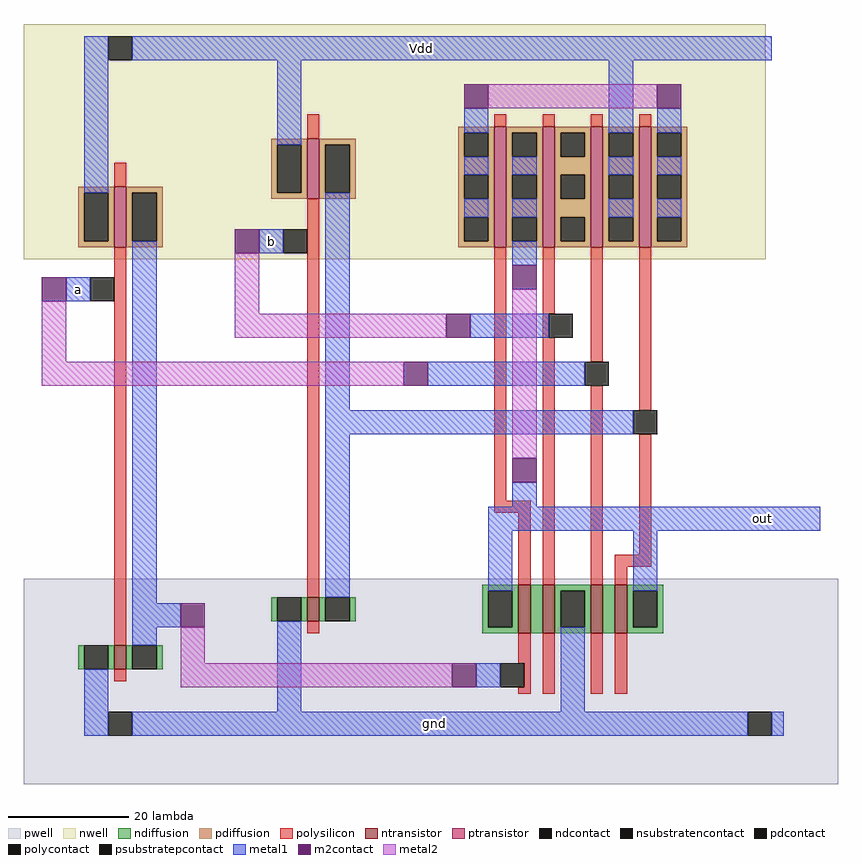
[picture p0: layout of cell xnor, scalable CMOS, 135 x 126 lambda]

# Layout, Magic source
magic
tech scmos
<< pwell >>
rect -79 -34 56 0
<< nwell >>
rect -79 53 44 92
<< polysilicon >>
rect -32 73 -30 77
rect -1 75 1 77
rect 7 75 9 77
rect 15 75 17 77
rect 23 75 25 77
rect -64 65 -62 69
rect -64 -11 -62 55
rect -32 -3 -30 63
rect -1 13 1 55
rect 7 44 9 55
rect 7 40 8 44
rect -1 11 5 13
rect 3 -1 5 11
rect 7 -1 9 40
rect 15 36 17 55
rect 15 -1 17 32
rect 23 28 25 55
rect 23 4 25 24
rect 19 2 25 4
rect 19 -1 21 2
rect -32 -9 -30 -7
rect 3 -14 5 -9
rect -64 -17 -62 -15
rect 4 -18 5 -14
rect 3 -19 5 -18
rect 7 -19 9 -9
rect 15 -19 17 -9
rect 19 -19 21 -9
<< ndiffusion >>
rect -3 -2 3 -1
rect -38 -7 -37 -3
rect -33 -7 -32 -3
rect -30 -7 -29 -3
rect -25 -7 -24 -3
rect -3 -8 -2 -2
rect 2 -8 3 -2
rect -3 -9 3 -8
rect 5 -9 7 -1
rect 9 -2 15 -1
rect 9 -8 10 -2
rect 14 -8 15 -2
rect 9 -9 15 -8
rect 17 -9 19 -1
rect 21 -2 27 -1
rect 21 -8 22 -2
rect 26 -8 27 -2
rect 21 -9 27 -8
rect -70 -15 -69 -11
rect -65 -15 -64 -11
rect -62 -15 -61 -11
rect -57 -15 -56 -11
<< pdiffusion >>
rect -7 74 -1 75
rect -38 72 -32 73
rect -70 64 -64 65
rect -70 56 -69 64
rect -65 56 -64 64
rect -70 55 -64 56
rect -62 64 -56 65
rect -62 56 -61 64
rect -57 56 -56 64
rect -38 64 -37 72
rect -33 64 -32 72
rect -38 63 -32 64
rect -30 72 -24 73
rect -30 64 -29 72
rect -25 64 -24 72
rect -30 63 -24 64
rect -7 70 -6 74
rect -2 70 -1 74
rect -7 67 -1 70
rect -7 63 -6 67
rect -2 63 -1 67
rect -62 55 -56 56
rect -7 60 -1 63
rect -7 56 -6 60
rect -2 56 -1 60
rect -7 55 -1 56
rect 1 74 7 75
rect 1 70 2 74
rect 6 70 7 74
rect 1 67 7 70
rect 1 63 2 67
rect 6 63 7 67
rect 1 60 7 63
rect 1 56 2 60
rect 6 56 7 60
rect 1 55 7 56
rect 9 74 15 75
rect 9 70 10 74
rect 14 70 15 74
rect 9 67 15 70
rect 9 63 10 67
rect 14 63 15 67
rect 9 60 15 63
rect 9 56 10 60
rect 14 56 15 60
rect 9 55 15 56
rect 17 74 23 75
rect 17 70 18 74
rect 22 70 23 74
rect 17 67 23 70
rect 17 63 18 67
rect 22 63 23 67
rect 17 60 23 63
rect 17 56 18 60
rect 22 56 23 60
rect 17 55 23 56
rect 25 74 31 75
rect 25 70 26 74
rect 30 70 31 74
rect 25 67 31 70
rect 25 63 26 67
rect 30 63 31 67
rect 25 60 31 63
rect 25 56 26 60
rect 30 56 31 60
rect 25 55 31 56
<< metal1 >>
rect -69 64 -65 90
rect -61 86 45 90
rect -37 72 -33 86
rect -6 74 -2 78
rect 18 74 22 86
rect -72 46 -68 50
rect -61 -4 -57 56
rect -40 54 -36 58
rect -29 28 -25 64
rect -6 67 -2 70
rect -6 60 -2 63
rect 2 67 6 70
rect 18 67 22 70
rect 2 60 6 63
rect 18 60 22 63
rect 26 74 30 78
rect 26 67 30 70
rect 26 60 30 63
rect 2 52 6 56
rect -5 40 8 44
rect -12 32 14 36
rect -29 24 22 28
rect -29 -3 -25 24
rect 2 12 6 16
rect -61 -8 -53 -4
rect -2 8 53 12
rect -2 -2 2 8
rect 22 -2 26 8
rect -61 -11 -57 -8
rect -69 -26 -65 -15
rect -37 -22 -33 -7
rect -4 -18 0 -14
rect 10 -22 14 -8
rect -61 -26 41 -22
rect 45 -26 47 -22
<< metal2 >>
rect -2 78 26 82
rect -76 36 -72 46
rect -44 44 -40 54
rect -44 40 -9 44
rect -76 32 -16 36
rect 2 20 6 48
rect -53 -14 -49 -8
rect -53 -18 -8 -14
<< ntransistor >>
rect -32 -7 -30 -3
rect 3 -9 5 -1
rect 7 -9 9 -1
rect 15 -9 17 -1
rect 19 -9 21 -1
rect -64 -15 -62 -11
<< ptransistor >>
rect -64 55 -62 65
rect -32 63 -30 73
rect -1 55 1 75
rect 7 55 9 75
rect 15 55 17 75
rect 23 55 25 75
<< polycontact >>
rect -68 46 -64 50
rect -36 54 -32 58
rect 8 40 12 44
rect 14 32 18 36
rect 22 24 26 28
rect 0 -18 4 -14
<< ndcontact >>
rect -37 -7 -33 -3
rect -29 -7 -25 -3
rect -2 -8 2 -2
rect 10 -8 14 -2
rect 22 -8 26 -2
rect -69 -15 -65 -11
rect -61 -15 -57 -11
<< pdcontact >>
rect -69 56 -65 64
rect -61 56 -57 64
rect -37 64 -33 72
rect -29 64 -25 72
rect -6 70 -2 74
rect -6 63 -2 67
rect -6 56 -2 60
rect 2 70 6 74
rect 2 63 6 67
rect 2 56 6 60
rect 10 70 14 74
rect 10 63 14 67
rect 10 56 14 60
rect 18 70 22 74
rect 18 63 22 67
rect 18 56 22 60
rect 26 70 30 74
rect 26 63 30 67
rect 26 56 30 60
<< m2contact >>
rect -6 78 -2 82
rect -76 46 -72 50
rect -44 54 -40 58
rect 26 78 30 82
rect 2 48 6 52
rect -9 40 -5 44
rect -16 32 -12 36
rect 2 16 6 20
rect -53 -8 -49 -4
rect -8 -18 -4 -14
<< psubstratepcontact >>
rect -65 -26 -61 -22
rect 41 -26 45 -22
<< nsubstratencontact >>
rect -65 86 -61 90
<< labels >>
rlabel space -71 86 45 90 0 Vdd
rlabel metal1 -72 46 -68 50 0 a
rlabel metal1 -40 54 -36 58 0 b
rlabel pwell -69 -26 47 -22 0 gnd
rlabel metal1 34 8 53 12 0 out
<< end >>
